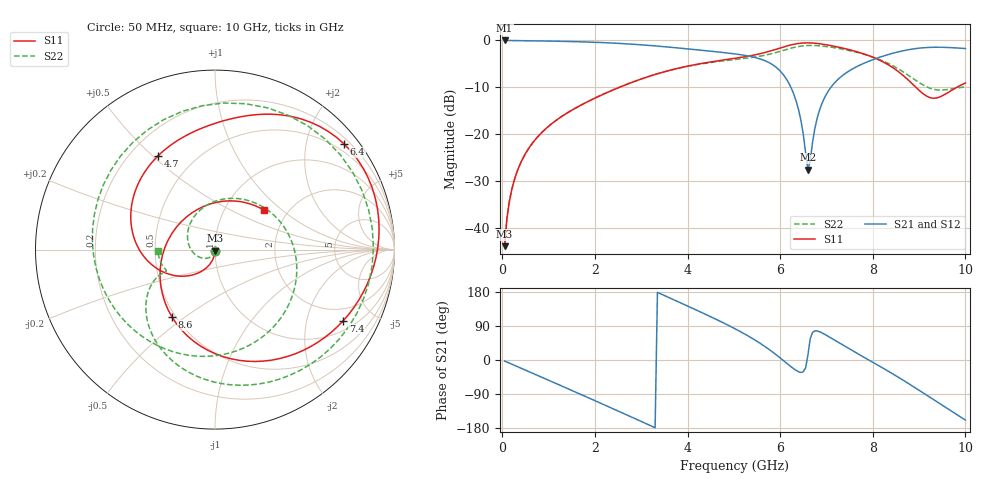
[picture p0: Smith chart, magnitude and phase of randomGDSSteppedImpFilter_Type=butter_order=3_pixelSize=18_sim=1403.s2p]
! freq	dB(S11)	phase(S11)	dB(S12)	phase(S12)
!  dB(S21)	phase(S21)	dB(S22)	phase(S22)
!S-par simulation data
#  GHz  S  DB  R 50
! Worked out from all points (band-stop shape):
!   200 points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, 50 MHz to 10 GHz, reference 50 ohm
!   highest |S21| = 0.00 dB at 50 MHz (marker M1); lowest = -27.6 dB at 6.6 GHz (marker M2)
!   |S21| within 3 dB of the highest: start of sweep to 5.116 GHz; 8.336 GHz to end of sweep
!   lowest |S11| = -43.9 dB at 50 MHz (marker M3), VSWR 1.01, Z = 50 - j0.635 ohm
!   |S11| at or under -10 dB: start of sweep to 2.533 GHz; 8.931 GHz to 9.816 GHz (885.5 MHz wide, 9.45 % of centre)
!   |S22| runs from -43.9 to -1.1 dB; largest |S21 - S12| = 0
!   S11 on the Smith chart (normalised r, x): 50 MHz: 1.00, -0.01; 4.7 GHz: 0.31, +0.52; 6.4 GHz: 0.32, +2.76; 7.4 GHz: 1.40, -3.33; 8.6 GHz: 0.48, -0.45; 10 GHz: 1.52, +0.76
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0.05  -43.94 -87.2  -0.00 -2.7  -0.00 -2.7  -43.94 -92.5
0.2  -32.04 -95.1  -0.02 -10.7  -0.02 -10.7  -32.09 -105.6
0.5  -24.17 -103.9  -0.05 -26.7  -0.05 -26.7  -24.21 -130.5
1.15  -17.16 -121.1  -0.16 -61.4  -0.16 -61.4  -17.16 176.5
1.75  -13.55 -135.9  -0.31 -93.7  -0.31 -93.7  -13.53 126.6
2.65  -9.53 -160.6  -0.70 -142.8  -0.70 -142.8  -9.50 53.3
3.4  -6.97 173.7  -1.25 175.8  -1.25 175.8  -6.97 -3.3
4  -5.49 150.2  -1.80 142.5  -1.80 142.5  -5.54 -45.9
4.7  -4.29 121.5  -2.50 102.5  -2.50 102.5  -4.45 -96.8
5.05  -3.78 107.1  -2.91 80.9  -2.91 80.9  -4.05 -125.6
5.8  -2.23 75.3  -4.96 24.4  -4.96 24.4  -2.87 150.0
6.15  -1.17 56.2  -8.48 -9.5  -8.48 -9.5  -1.89 95.0
6.4  -0.64 39.4  -14.90 -31.1  -14.90 -31.1  -1.29 53.2
6.6  -0.52 25.0  -27.61 13.6  -27.61 13.6  -1.08 21.7
6.7  -0.56 17.9  -21.74 72.8  -21.74 72.8  -1.07 7.3
6.95  -0.85 0.6  -12.40 68.6  -12.40 68.6  -1.25 -24.2
7.4  -1.75 -28.9  -7.10 36.0  -7.10 36.0  -1.97 -67.9
7.9  -3.20 -62.8  -4.50 1.1  -4.50 1.1  -3.22 -104.4
8.35  -5.29 -98.4  -2.96 -30.7  -2.96 -30.7  -4.99 -130.9
8.6  -7.02 -122.5  -2.32 -49.1  -2.32 -49.1  -6.36 -142.9
9.25  -12.26 140.7  -1.47 -99.6  -1.47 -99.6  -10.25 -156.0
10  -9.09 38.7  -1.73 -158.6  -1.73 -158.6  -9.94 -178.4
